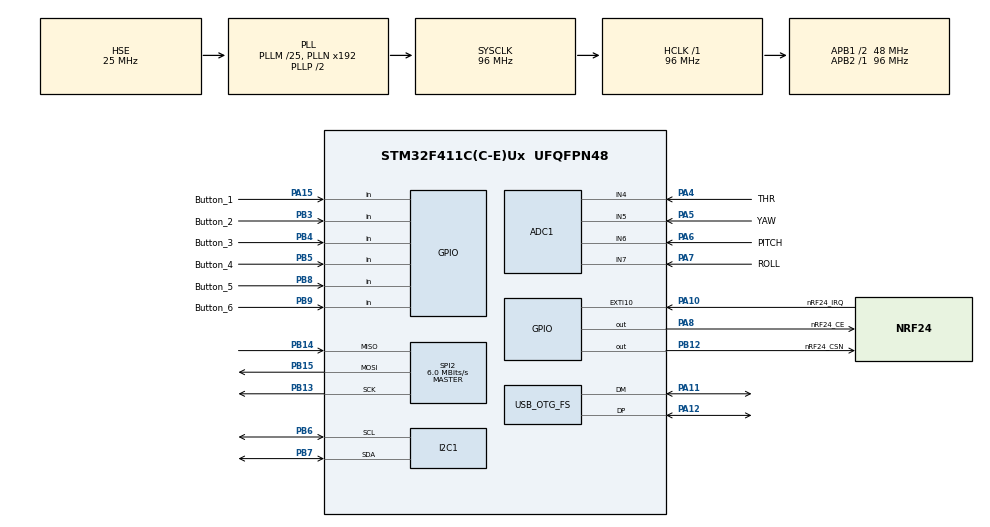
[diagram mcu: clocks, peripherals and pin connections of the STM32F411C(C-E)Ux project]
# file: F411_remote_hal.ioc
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ADC1.Channel-0\#ChannelRegularConversion=ADC_CHANNEL_4
ADC1.Channel-5\#ChannelRegularConversion=ADC_CHANNEL_5
ADC1.Channel-6\#ChannelRegularConversion=ADC_CHANNEL_6
ADC1.Channel-7\#ChannelRegularConversion=ADC_CHANNEL_7
ADC1.ContinuousConvMode=ENABLE
ADC1.DMAContinuousRequests=ENABLE
ADC1.EOCSelection=ADC_EOC_SEQ_CONV
ADC1.InjNumberOfConversion=0
ADC1.NbrOfConversion=4
ADC1.NbrOfConversionFlag=1
ADC1.Rank-0\#ChannelRegularConversion=1
ADC1.Rank-5\#ChannelRegularConversion=2
ADC1.Rank-6\#ChannelRegularConversion=3
ADC1.Rank-7\#ChannelRegularConversion=4
ADC1.SamplingTime-0\#ChannelRegularConversion=ADC_SAMPLETIME_84CYCLES
ADC1.SamplingTime-5\#ChannelRegularConversion=ADC_SAMPLETIME_84CYCLES
ADC1.SamplingTime-6\#ChannelRegularConversion=ADC_SAMPLETIME_84CYCLES
ADC1.SamplingTime-7\#ChannelRegularConversion=ADC_SAMPLETIME_84CYCLES
ADC1.ScanConvMode=ENABLE
ADC1.master=1
Dma.ADC1.0.Direction=DMA_PERIPH_TO_MEMORY
Dma.ADC1.0.FIFOMode=DMA_FIFOMODE_DISABLE
Dma.ADC1.0.Instance=DMA2_Stream0
Dma.ADC1.0.MemDataAlignment=DMA_MDATAALIGN_HALFWORD
Dma.ADC1.0.MemInc=DMA_MINC_ENABLE
Dma.ADC1.0.Mode=DMA_CIRCULAR
Dma.ADC1.0.PeriphDataAlignment=DMA_PDATAALIGN_HALFWORD
Dma.ADC1.0.PeriphInc=DMA_PINC_DISABLE
Dma.ADC1.0.Priority=DMA_PRIORITY_LOW
Dma.Request0=ADC1
FREERTOS.Queues01=DebugQueue,8,DebugMessage_t,0,Dynamic,NULL,NULL
FREERTOS.Tasks01=CommunicationTa,40,256,StartCommunicationTask,Default,NULL,Dynamic,NULL,NULL;JoystickTask,32,256,StartJoystickTask,Default,NULL,Dynamic,NULL,NULL;ButtonTask,24,512,StartButtonTask,Default,NULL,Dynamic,NULL,NULL;DisplayTask,16,256,StartDisplayTask,Default,NULL,Dynamic,NULL,NULL;USBDebugTask,9,512,StartUSBDebugTask,Default,NULL,Dynamic,NULL,NULL
FREERTOS.configCHECK_FOR_STACK_OVERFLOW=2
FREERTOS.configUSE_MALLOC_FAILED_HOOK=1
Mcu.Family=STM32F4
Mcu.Name=STM32F411C(C-E)Ux
Mcu.Package=UFQFPN48
NVIC.DMA2_Stream0_IRQn=true\:5\:0\:false\:false\:true\:true\:false\:true\:true
NVIC.OTG_FS_IRQn=true\:5\:0\:false\:false\:true\:true\:false\:true\:true
NVIC.PriorityGroup=NVIC_PRIORITYGROUP_4
NVIC.TIM5_IRQn=true\:15\:0\:false\:false\:true\:false\:false\:true\:true
NVIC.TimeBase=TIM5_IRQn
NVIC.TimeBaseIP=TIM5
PA10.GPIO_Label=nRF24_IRQ
PA10.Signal=GPXTI10
PA11.Mode=Device_Only
PA11.Signal=USB_OTG_FS_DM
PA12.Mode=Device_Only
PA12.Signal=USB_OTG_FS_DP
PA13.Mode=Serial_Wire
PA13.Signal=SYS_JTMS-SWDIO
PA14.Mode=Serial_Wire
PA14.Signal=SYS_JTCK-SWCLK
PA15.GPIO_Label=Button_1
PA15.GPIO_PuPd=GPIO_PULLUP
PA15.Signal=GPIO_Input
PA4.GPIO_Label=THR
PA4.Signal=ADCx_IN4
PA5.GPIO_Label=YAW
PA5.Signal=ADCx_IN5
PA6.GPIO_Label=PITCH
PA6.Signal=ADCx_IN6
PA7.GPIO_Label=ROLL
PA7.Signal=ADCx_IN7
PA8.GPIO_Label=nRF24_CE
PA8.Signal=GPIO_Output
PB12.GPIO_Label=nRF24_CSN
PB12.PinState=GPIO_PIN_SET
PB12.Signal=GPIO_Output
PB13.Mode=Full_Duplex_Master
PB13.Signal=SPI2_SCK
PB14.Mode=Full_Duplex_Master
PB14.Signal=SPI2_MISO
PB15.Mode=Full_Duplex_Master
PB15.Signal=SPI2_MOSI
PB3.GPIO_Label=Button_2
PB3.GPIO_PuPd=GPIO_PULLUP
PB3.Signal=GPIO_Input
PB4.GPIO_Label=Button_3
PB4.GPIO_PuPd=GPIO_PULLUP
PB4.Signal=GPIO_Input
PB5.GPIO_Label=Button_4
PB5.GPIO_PuPd=GPIO_PULLUP
PB5.Signal=GPIO_Input
PB6.GPIO_Pu=GPIO_PULLUP
PB6.Mode=I2C
PB6.Signal=I2C1_SCL
PB7.GPIO_Pu=GPIO_PULLUP
PB7.Mode=I2C
PB7.Signal=I2C1_SDA
PB8.GPIO_Label=Button_5
PB8.GPIO_PuPd=GPIO_PULLUP
PB8.Signal=GPIO_Input
PB9.GPIO_Label=Button_6
PB9.GPIO_PuPd=GPIO_PULLUP
PB9.Signal=GPIO_Input
PH0\ -\ OSC_IN.Mode=HSE-External-Oscillator
PH0\ -\ OSC_IN.Signal=RCC_OSC_IN
PH1\ -\ OSC_OUT.Mode=HSE-External-Oscillator
PH1\ -\ OSC_OUT.Signal=RCC_OSC_OUT
ProjectManager.HeapSize=0x400
ProjectManager.StackSize=0x800
ProjectManager.TargetToolchain=CMake
RCC.48MHZClocksFreq_Value=48000000
RCC.AHBFreq_Value=96000000
RCC.APB1CLKDivider=RCC_HCLK_DIV2
RCC.APB1Freq_Value=48000000
RCC.APB1TimFreq_Value=96000000
RCC.APB2Freq_Value=96000000
RCC.APB2TimFreq_Value=96000000
RCC.CortexFreq_Value=96000000
RCC.HCLKFreq_Value=96000000
RCC.HSE_VALUE=25000000
RCC.HSI_VALUE=16000000
RCC.LSE_VALUE=32768
RCC.PLLM=25
RCC.SYSCLKFreq_VALUE=96000000
RCC.SYSCLKSource=RCC_SYSCLKSOURCE_PLLCLK
RCC.VCOOutputFreq_Value=192000000
SH.ADCx_IN4.0=ADC1_IN4,IN4
SH.ADCx_IN5.0=ADC1_IN5,IN5
SH.ADCx_IN6.0=ADC1_IN6,IN6
SH.ADCx_IN7.0=ADC1_IN7,IN7
SPI2.BaudRatePrescaler=SPI_BAUDRATEPRESCALER_8
SPI2.CalculateBaudRate=6.0 MBits/s
SPI2.Direction=SPI_DIRECTION_2LINES
SPI2.Mode=SPI_MODE_MASTER
SPI2.VirtualType=VM_MASTER
USB_DEVICE.CLASS_NAME_FS=CDC
USB_DEVICE.VirtualMode=Cdc
USB_DEVICE.VirtualModeFS=Cdc_FS
USB_OTG_FS.VirtualMode=Device_Only
VP_FREERTOS_VS_CMSIS_V2.Mode=CMSIS_V2
VP_SYS_VS_tim5.Mode=TIM5
VP_USB_DEVICE_VS_USB_DEVICE_CDC_FS.Mode=CDC_FS
board=custom

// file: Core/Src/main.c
/* USER CODE BEGIN Header */
/**
  ******************************************************************************
  * @file           : main.c
  * @brief          : Main program body
  ******************************************************************************
  * @attention
  *
  * Copyright (c) 2026 STMicroelectronics.
  * All rights reserved.
  *
  * This software is licensed under terms that can be found in the LICENSE file
  * in the root directory of this software component.
  * If no LICENSE file comes with this software, it is provided AS-IS.
  *
  ******************************************************************************
  */
/* USER CODE END Header */
#include "main.h"
#include "cmsis_os.h"
#include "adc.h"
#include "dma.h"
#include "i2c.h"
#include "spi.h"
#include "usb_device.h"
#include "gpio.h"

void SystemClock_Config(void);
void MX_FREERTOS_Init(void);

int main(void)
{

  /* MCU Configuration--------------------------------------------------------*/

  /* Reset of all peripherals, Initializes the Flash interface and the Systick. */
  HAL_Init();

  /* Configure the system clock */
  SystemClock_Config();

  /* Initialize all configured peripherals */
  MX_GPIO_Init();
  MX_DMA_Init();
  MX_ADC1_Init();
  MX_I2C1_Init();
  MX_SPI2_Init();
  /* USER CODE BEGIN 2 */

  /* 啟動 ADC 循環 DMA；HAL 接收 uint32_t 指標，實際傳輸寬度由 DMA 設定決定。 */
  if (HAL_ADC_Start_DMA(&hadc1, (uint32_t *)adc_raw, ADC_RAW_CHANNEL_COUNT) != HAL_OK)
  {
    Error_Handler();
  }

  /* USER CODE END 2 */

  /* Init scheduler */
  osKernelInitialize();  /* Call init function for freertos objects (in cmsis_os2.c) */
  MX_FREERTOS_Init();

  /* Start scheduler */
  osKernelStart();

  /* We should never get here as control is now taken by the scheduler */

  /* Infinite loop */
  while (1)
  {

  }
}

void SystemClock_Config(void)
{
  RCC_OscInitTypeDef RCC_OscInitStruct = {0};
  RCC_ClkInitTypeDef RCC_ClkInitStruct = {0};

  /** Configure the main internal regulator output voltage
  */
  __HAL_RCC_PWR_CLK_ENABLE();
  __HAL_PWR_VOLTAGESCALING_CONFIG(PWR_REGULATOR_VOLTAGE_SCALE1);

  /** Initializes the RCC Oscillators according to the specified parameters
  * in the RCC_OscInitTypeDef structure.
  */
  RCC_OscInitStruct.OscillatorType = RCC_OSCILLATORTYPE_HSE;
  RCC_OscInitStruct.HSEState = RCC_HSE_ON;
  RCC_OscInitStruct.PLL.PLLState = RCC_PLL_ON;
  RCC_OscInitStruct.PLL.PLLSource = RCC_PLLSOURCE_HSE;
  RCC_OscInitStruct.PLL.PLLM = 25;
  RCC_OscInitStruct.PLL.PLLN = 192;
  RCC_OscInitStruct.PLL.PLLP = RCC_PLLP_DIV2;
  RCC_OscInitStruct.PLL.PLLQ = 4;
  if (HAL_RCC_OscConfig(&RCC_OscInitStruct) != HAL_OK)
  {
    Error_Handler();
  }

  /** Initializes the CPU, AHB and APB buses clocks
  */
  RCC_ClkInitStruct.ClockType = RCC_CLOCKTYPE_HCLK|RCC_CLOCKTYPE_SYSCLK
                              |RCC_CLOCKTYPE_PCLK1|RCC_CLOCKTYPE_PCLK2;
  RCC_ClkInitStruct.SYSCLKSource = RCC_SYSCLKSOURCE_PLLCLK;
  RCC_ClkInitStruct.AHBCLKDivider = RCC_SYSCLK_DIV1;
  RCC_ClkInitStruct.APB1CLKDivider = RCC_HCLK_DIV2;
  RCC_ClkInitStruct.APB2CLKDivider = RCC_HCLK_DIV1;

  if (HAL_RCC_ClockConfig(&RCC_ClkInitStruct, FLASH_LATENCY_3) != HAL_OK)
  {
    Error_Handler();
  }
}

void HAL_TIM_PeriodElapsedCallback(TIM_HandleTypeDef *htim)
{
  if (htim->Instance == TIM5)
  {
    HAL_IncTick();
  }
}

void Error_Handler(void)
{
  __disable_irq();
  while (1)
  {
  }
}

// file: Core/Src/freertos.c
/* USER CODE BEGIN Header */
/**
  ******************************************************************************
  * File Name          : freertos.c
  * Description        : Code for freertos applications
  ******************************************************************************
  * @attention
  *
  * Copyright (c) 2026 STMicroelectronics.
  * All rights reserved.
  *
  * This software is licensed under terms that can be found in the LICENSE file
  * in the root directory of this software component.
  * If no LICENSE file comes with this software, it is provided AS-IS.
  *
  ******************************************************************************
  */
/* USER CODE END Header */

#include "FreeRTOS.h"
#include "pid_command.h"
#include "task.h"
#include "main.h"
#include "cmsis_os.h"

/* USER CODE BEGIN Includes */
#include "usbd_cdc_if.h"
#include <string.h>
#include "debug.h"
#include "joystick.h"
#include "button.h"
#include "nRF24L01P.h"
#include "ack_payload.h"
#include "transmit.h"
#include "connection.h"
#include "process_data.h"
#include "i2c.h"
#include "lcd1602_i2c.h"
/* USER CODE END Includes */

/* USER CODE BEGIN Variables */

/* 除錯器可觀察：ButtonTask 歷來最少剩餘堆疊，單位為 StackType_t（4 bytes）。 */
volatile UBaseType_t buttonStackHighWaterMark = 0;
/* 溢位時保留任務資訊；名稱指向的記憶體也可能已遭破壞。 */
TaskHandle_t volatile stackOverflowTask = NULL;
char * volatile stackOverflowTaskName = NULL;

/* USER CODE END Variables */
/* Definitions for CommunicationTa */
osThreadId_t CommunicationTaHandle;
const osThreadAttr_t CommunicationTa_attributes = {
  .name = "CommunicationTa",
  .stack_size = 256 * 4,
  .priority = (osPriority_t) osPriorityHigh,
};
/* Definitions for JoystickTask */
osThreadId_t JoystickTaskHandle;
const osThreadAttr_t JoystickTask_attributes = {
  .name = "JoystickTask",
  .stack_size = 256 * 4,
  .priority = (osPriority_t) osPriorityAboveNormal,
};
/* Definitions for ButtonTask */
osThreadId_t ButtonTaskHandle;
const osThreadAttr_t ButtonTask_attributes = {
  .name = "ButtonTask",
  .stack_size = 512 * 4,
  .priority = (osPriority_t) osPriorityNormal,
};
/* Definitions for DisplayTask */
osThreadId_t DisplayTaskHandle;
const osThreadAttr_t DisplayTask_attributes = {
  .name = "DisplayTask",
  .stack_size = 256 * 4,
  .priority = (osPriority_t) osPriorityBelowNormal,
};
/* Definitions for USBDebugTask */
osThreadId_t USBDebugTaskHandle;
const osThreadAttr_t USBDebugTask_attributes = {
  .name = "USBDebugTask",
  .stack_size = 512 * 4,
  .priority = (osPriority_t) osPriorityLow1,
};
/* Definitions for DebugQueue */
osMessageQueueId_t DebugQueueHandle;
const osMessageQueueAttr_t DebugQueue_attributes = {
  .name = "DebugQueue"
};

void StartCommunicationTask(void *argument);
void StartJoystickTask(void *argument);
void StartButtonTask(void *argument);
void StartDisplayTask(void *argument);
void StartUSBDebugTask(void *argument);

extern void MX_USB_DEVICE_Init(void);
void MX_FREERTOS_Init(void); /* (MISRA C 2004 rule 8.1) */

/* Hook prototypes */
void vApplicationStackOverflowHook(xTaskHandle xTask, signed char *pcTaskName);
void vApplicationMallocFailedHook(void);

/* USER CODE BEGIN 4 */
void vApplicationStackOverflowHook(xTaskHandle xTask, signed char *pcTaskName)
{
   /* Run time stack overflow checking is performed if
   configCHECK_FOR_STACK_OVERFLOW is defined to 1 or 2. This hook function is
   called if a stack overflow is detected. */
   __disable_irq();
   stackOverflowTask = xTask;
   stackOverflowTaskName = (char *)pcTaskName;
   /* 在此設中斷點；堆疊已不可靠，不再呼叫 Debug_Printf。 */
   for (;;) {}
}
/* USER CODE END 4 */

/* USER CODE BEGIN 5 */
void vApplicationMallocFailedHook(void)
{
   /* vApplicationMallocFailedHook() will only be called if
   configUSE_MALLOC_FAILED_HOOK is set to 1 in FreeRTOSConfig.h. It is a hook
   function that will get called if a call to pvPortMalloc() fails.
   pvPortMalloc() is called internally by the kernel whenever a task, queue,
   timer or semaphore is created. It is also called by various parts of the
   demo application. If heap_1.c or heap_2.c are used, then the size of the
   heap available to pvPortMalloc() is defined by configTOTAL_HEAP_SIZE in
   FreeRTOSConfig.h, and the xPortGetFreeHeapSize() API function can be used
   to query the size of free heap space that remains (although it does not
   provide information on how the remaining heap might be fragmented). */
   __disable_irq();
   /* 配置失敗時停住，避免後續使用未成功建立的 RTOS 物件。 */
   for (;;) {}
}
/* USER CODE END 5 */

void MX_FREERTOS_Init(void) {

  /* Create the queue(s) */
  /* creation of DebugQueue */
  DebugQueueHandle = osMessageQueueNew (8, sizeof(DebugMessage_t), &DebugQueue_attributes);

  /* Create the thread(s) */
  /* creation of CommunicationTa */
  CommunicationTaHandle = osThreadNew(StartCommunicationTask, NULL, &CommunicationTa_attributes);

  /* creation of JoystickTask */
  JoystickTaskHandle = osThreadNew(StartJoystickTask, NULL, &JoystickTask_attributes);

  /* creation of ButtonTask */
  ButtonTaskHandle = osThreadNew(StartButtonTask, NULL, &ButtonTask_attributes);

  /* creation of DisplayTask */
  DisplayTaskHandle = osThreadNew(StartDisplayTask, NULL, &DisplayTask_attributes);

  /* creation of USBDebugTask */
  USBDebugTaskHandle = osThreadNew(StartUSBDebugTask, NULL, &USBDebugTask_attributes);

}

void StartCommunicationTask(void *argument)
{
  /* init code for USB_DEVICE */
  MX_USB_DEVICE_Init();
  /* USER CODE BEGIN StartCommunicationTask */
  /* Infinite loop */
  TickType_t lastWakeTime;
  uint8_t radioReady = 0U;
  uint8_t txStatus;

  vTaskDelay(pdMS_TO_TICKS(1000));//等待 nRF24L01+ 上電完成

  Connection_Init();//初始化連線狀態
  lastWakeTime = xTaskGetTickCount();

  for(;;)
  {
    if (!radioReady)
    {
      if (L01_Init() != HAL_OK || L01_Check() != HAL_OK)
      {
        Debug_Print("nRF24 init/check failed; retry in 100 ms\r\n");
        vTaskDelay(pdMS_TO_TICKS(100));
        lastWakeTime = xTaskGetTickCount();
        continue;
      }
      radioReady = 1U;
      lastWakeTime = xTaskGetTickCount();
    }
    PidCommand_Poll();
    if (!PidCommand_Send(&txStatus)) txStatus = TransmitData();

    if (txStatus == L01_TX_SUCCESS)
    {
        Connection_ReportSuccess();
    }
    /* TX_DS 只表示收到 ACK；ACK 資料另存在 RX FIFO，須確實讀出。
     * 即使 TX 逾時也排空 FIFO，避免漏掉已到達的資料。
     */
    if (txStatus == L01_TX_SPI_ERROR || AckPayload_Poll() != HAL_OK)
    {
        radioReady = 0U;
        Debug_Print("nRF24 SPI failed; retry init in 100 ms\r\n");
        vTaskDelay(pdMS_TO_TICKS(100));
        lastWakeTime = xTaskGetTickCount();
        continue;
    }

    vTaskDelayUntil(
      &lastWakeTime,
      pdMS_TO_TICKS(6)
    );
  }
  /* USER CODE END StartCommunicationTask */
}

void StartJoystickTask(void *argument)
{
  /* USER CODE BEGIN StartJoystickTask */
  /* Infinite loop */
    TickType_t lastWakeTime = xTaskGetTickCount();

    //static uint32_t rawDebugCounter = 0;
    static uint32_t processedDebugCounter = 0;

  for(;;)
  {
        /* 取得 DMA 最新 ADC */
        Joystick_ReadData();

        /* Filter + Deadzone + Mapping */
        Joystick_Process();
        ProcessJoystickData();

        /* 每 20 次看一次處理後結果 = 約 8.33 Hz */
        Debug_PrintfEveryN(
            &processedDebugCounter,
            20,
            "THR=%u YAW=%d PIT=%d ROL=%d RawTHR=%u RawYAW=%u RawPIT=%u RawROL=%u\r\n",
            joystickData.thr,
            joystickData.yaw,
            joystickData.pitch,
            joystickData.roll,
            joystickRawData.thr,
            joystickRawData.yaw,
            joystickRawData.pitch,
            joystickRawData.roll
        );

        vTaskDelayUntil(
            &lastWakeTime,
            pdMS_TO_TICKS(6)
        );
  }
  /* USER CODE END StartJoystickTask */
}

void StartButtonTask(void *argument)
{
  /* USER CODE BEGIN StartButtonTask */
  /* Infinite loop */
  TickType_t lastWakeTime = xTaskGetTickCount();

  for(;;)
  {
    ButtonEvent_t event = Button_Read();
    ProcessButtonData(event);

    if (event.pressed || event.released)
    {
        Debug_Printf(
            "Button pressed: 0x%02X, held: 0x%02X, released: 0x%02X\r\n",
            (unsigned int)event.pressed,
            (unsigned int)event.held,
            (unsigned int)event.released
        );
    }

    buttonStackHighWaterMark = uxTaskGetStackHighWaterMark(NULL);

    vTaskDelayUntil(
        &lastWakeTime,
        pdMS_TO_TICKS(10)
    );
  }
  /* USER CODE END StartButtonTask */
}

void StartDisplayTask(void *argument)
{
  /* USER CODE BEGIN StartDisplayTask */
  static lcd1602_HandleTypeDef lcd = {0};

  ConnectionState_t lastState = (ConnectionState_t)0xFF;
  ConnectionState_t state;

  /* 等待 LCD 上電完成。 */
  vTaskDelay(pdMS_TO_TICKS(1500));

  /*初始化 LCD */
  if (lcd1602_Init(&lcd, &hi2c1, PCF8574_ADDRESS) == HAL_OK)
  {
      lcd1602_Print(&lcd, (const uint8_t *)"Hello");
  }
  else
  {
      /* LCD 初始化失敗，直接結束此 Task */
      vTaskDelete(NULL);
  }
  /* Infinite loop */
  TickType_t lastWakeTime = xTaskGetTickCount();

  for(;;)
  {
    state = Connection_GetState();

    /* 只有狀態改變時才更新 LCD */
    if (state != lastState)
    {
        lastState = state;

        /* 第二行 */
        lcd1602_SetCursor(&lcd, 0, 1);

        if (state == CONNECTION_DISCONNECTED)
        {
          lcd1602_Print(
                &lcd,
                (const uint8_t *)"Disconnected    "
            );
        }
        else if (state == CONNECTION_CONNECTED)
        {
            lcd1602_Print(
                &lcd,
                (const uint8_t *)"Connected       "
            );
        }
        else
        {
            lcd1602_Print(
                &lcd,
                (const uint8_t *)"Unknown         "
            );
        }
    }

    vTaskDelayUntil(
        &lastWakeTime,
        pdMS_TO_TICKS(50)
    );
  }
  /* USER CODE END StartDisplayTask */
}

void StartUSBDebugTask(void *argument)
{
  /* USER CODE BEGIN StartUSBDebugTask */
  /* Infinite loop */

  for(;;)
  {
    Debug_Task();
    osDelay(1);
  }
  /* USER CODE END StartUSBDebugTask */
}
